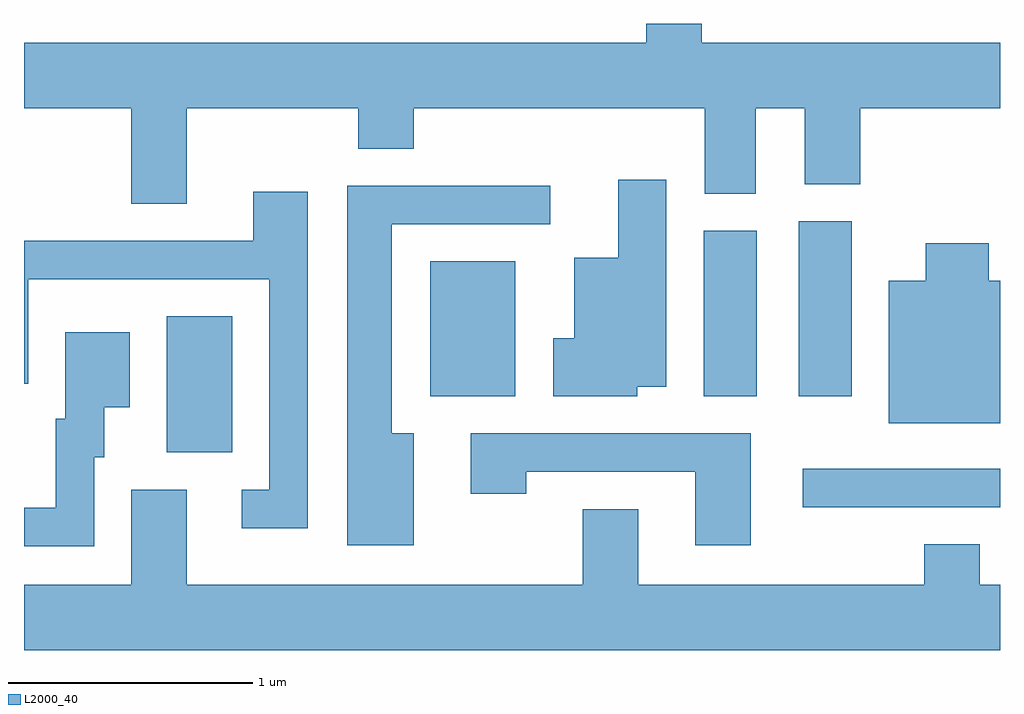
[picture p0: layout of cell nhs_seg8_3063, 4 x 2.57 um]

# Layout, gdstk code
import gdstk
lib = gdstk.Library(unit=1e-6, precision=1e-09)
def R(c, l, rs):  # rectangles x0, y0, x1, y1
    for r in rs: c.add(gdstk.rectangle(r[:2], r[2:], *l))
def P(c, l, *ps):  # polygons
    for p in ps: c.add(gdstk.Polygon(p, *l))
L2000_40 = (2000, 40)

nhs_seg8_3063 = lib.new_cell('nhs_seg8_3063')
R(nhs_seg8_3063, L2000_40, [(280.803,1810.361,281.611,1810.519), (278.196,1810.586,278.464,1811.144), (279.276,1810.816,279.624,1811.369), (280.396,1810.816,280.614,1811.494), (280.786,1810.816,281.004,1811.534)])
P(nhs_seg8_3063, L2000_40, [(278.279,1811.996),(278.981,1811.996),(278.981,1811.831),(279.209,1811.831),(279.209,1811.996),(280.401,1811.996),(280.401,1811.646),(280.609,1811.646),(280.609,1811.996),(280.811,1811.996),(280.811,1811.686),(281.039,1811.686),(281.039,1811.996),(281.611,1811.996),(281.611,1812.264),(280.389,1812.264),(280.389,1812.342),(280.161,1812.342),(280.161,1812.264),(277.611,1812.264),(277.611,1811.996),(278.051,1811.996),(278.051,1811.606),(278.279,1811.606)],
  [(280.124,1810.856),(280.244,1810.856),(280.244,1811.704),(280.046,1811.704),(280.046,1811.384),(279.866,1811.384),(279.866,1811.054),(279.781,1811.054),(279.781,1810.816),(280.124,1810.816)],
  [(279.209,1810.664),(279.119,1810.664),(279.119,1811.521),(279.768,1811.521),(279.768,1811.679),(278.936,1811.679),(278.936,1810.206),(279.209,1810.206)],
  [(278.774,1811.654),(278.551,1811.654),(278.551,1811.454),(277.611,1811.454),(277.611,1810.868),(277.629,1810.868),(277.629,1811.296),(278.616,1811.296),(278.616,1810.434),(278.503,1810.434),(278.503,1810.276),(278.774,1810.276)],
  [(281.611,1811.289),(281.564,1811.289),(281.564,1811.444),(281.306,1811.444),(281.306,1811.289),(281.156,1811.289),(281.156,1810.706),(281.611,1810.706)],
  [(277.899,1810.566),(277.939,1810.566),(277.939,1810.771),(278.044,1810.771),(278.044,1811.079),(277.781,1811.079),(277.781,1810.724),(277.741,1810.724),(277.741,1810.359),(277.611,1810.359),(277.611,1810.201),(277.899,1810.201)],
  [(280.589,1810.664),(279.441,1810.664),(279.441,1810.416),(279.669,1810.416),(279.669,1810.506),(280.361,1810.506),(280.361,1810.206),(280.589,1810.206)],
  [(281.611,1810.044),(281.529,1810.044),(281.529,1810.209),(281.301,1810.209),(281.301,1810.044),(280.129,1810.044),(280.129,1810.354),(279.901,1810.354),(279.901,1810.044),(278.279,1810.044),(278.279,1810.434),(278.051,1810.434),(278.051,1810.044),(277.611,1810.044),(277.611,1809.776),(281.611,1809.776)])

lib.write_gds('nhs_seg8_3063.gds')
